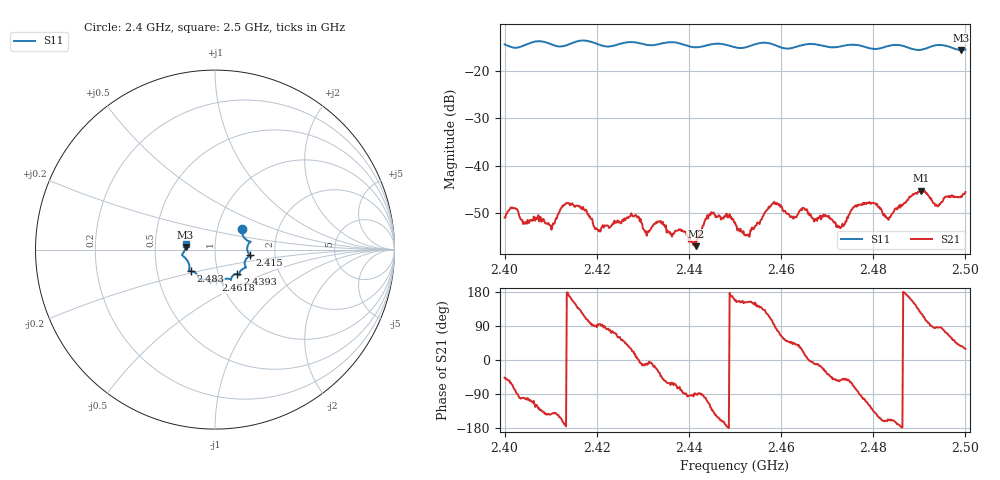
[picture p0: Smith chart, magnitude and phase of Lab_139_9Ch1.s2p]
# Hz S RI R 50
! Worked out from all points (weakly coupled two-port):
!   601 points, 2.4 GHz to 2.5 GHz, reference 50 ohm
!   highest |S21| = -45.17 dB at 2.4903 GHz (marker M1); lowest = -56.9 dB at 2.4415 GHz (marker M2)
!   lowest |S11| = -15.7 dB at 2.499 GHz (marker M3), VSWR 1.39, Z = 35.9 + j1.12 ohm
!   |S11| at or under -10 dB: start of sweep to end of sweep
!   S12 and S22 are empty: the file has one direction only
!   S11 on the Smith chart (normalised r, x): 2.4 GHz: 1.31, +0.31; 2.415 GHz: 1.48, -0.10; 2.4393 GHz: 1.23, -0.35; 2.4618 GHz: 0.95, -0.33; 2.483 GHz: 0.74, -0.18; 2.5 GHz: 0.72, +0.05
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2.4e9  0.1501 0.1139  0.00195 -0.0021  0 0  0 0
2.410167e9  0.1862 0.0304  -0.00169 -0.00131  0 0  0 0
2.415e9  0.1948 -0.0321  -0.0034 0.00178  0 0  0 0
2.416667e9  0.2034 -0.038  -0.00218 0.00295  0 0  0 0
2.420333e9  0.1839 -0.0417  -8.48e-05 0.00208  0 0  0 0
2.433333e9  0.1364 -0.1314  0.00225 -0.00129  0 0  0 0
2.439333e9  0.1253 -0.1352  6.27e-05 -0.00202  0 0  0 0
2.4415e9  0.1047 -0.1412  5.88e-06 -0.00144  0 0  0 0
2.444833e9  0.0889 -0.1668  -0.00194 -0.00262  0 0  0 0
2.45e9  0.0696 -0.1616  -0.00235 0.00101  0 0  0 0
2.452667e9  0.0443 -0.172  -0.00167 0.000861  0 0  0 0
2.458667e9  0.0394 -0.1814  0.000123 0.00399  0 0  0 0
2.461833e9  0.00405 -0.171  0.00207 0.00218  0 0  0 0
2.466667e9  -0.026 -0.1889  0.00284 -0.000287  0 0  0 0
2.472667e9  -0.0684 -0.165  0.00129 -0.0019  0 0  0 0
2.4795e9  -0.1018 -0.137  -0.00241 -0.0032  0 0  0 0
2.483e9  -0.1357 -0.1183  -0.00271 -0.000907  0 0  0 0
2.483333e9  -0.1384 -0.118  -0.00251 -0.00102  0 0  0 0
2.490333e9  -0.1531 -0.0628  -0.00301 0.00462  0 0  0 0
2.494e9  -0.1834 -0.0306  0.000281 0.00374  0 0  0 0
2.499e9  -0.1638 0.0152  0.00386 0.00284  0 0  0 0
2.5e9  -0.1633 0.0332  0.00462 0.00262  0 0  0 0
